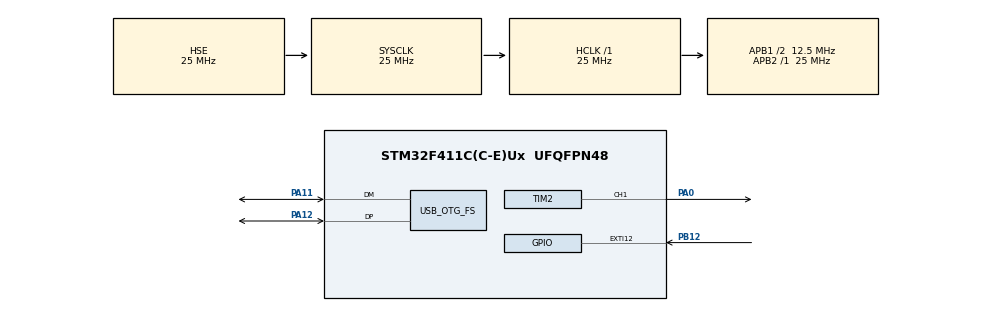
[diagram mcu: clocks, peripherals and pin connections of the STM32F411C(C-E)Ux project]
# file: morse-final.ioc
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Mcu.Family=STM32F4
Mcu.Name=STM32F411C(C-E)Ux
Mcu.Package=UFQFPN48
NVIC.EXTI15_10_IRQn=true\:0\:0\:false\:false\:true\:true\:true\:true
NVIC.OTG_FS_IRQn=true\:0\:0\:false\:false\:true\:false\:true\:true
NVIC.PriorityGroup=NVIC_PRIORITYGROUP_4
NVIC.TIM2_IRQn=true\:0\:0\:false\:false\:true\:true\:true\:true
PA0-WKUP.Signal=S_TIM2_CH1_ETR
PA11.Mode=Device_Only
PA11.Signal=USB_OTG_FS_DM
PA12.Mode=Device_Only
PA12.Signal=USB_OTG_FS_DP
PA13.Mode=Serial_Wire
PA13.Signal=SYS_JTMS-SWDIO
PA14.Mode=Serial_Wire
PA14.Signal=SYS_JTCK-SWCLK
PB12.GPIO_ModeDefaultEXTI=GPIO_MODE_IT_RISING_FALLING
PB12.Signal=GPXTI12
PH0\ -\ OSC_IN.Mode=HSE-External-Oscillator
PH0\ -\ OSC_IN.Signal=RCC_OSC_IN
PH1\ -\ OSC_OUT.Mode=HSE-External-Oscillator
PH1\ -\ OSC_OUT.Signal=RCC_OSC_OUT
ProjectManager.HeapSize=0x200
ProjectManager.StackSize=0x400
ProjectManager.TargetToolchain=STM32CubeIDE
RCC.48MHZClocksFreq_Value=48000000
RCC.AHBFreq_Value=25000000
RCC.APB1CLKDivider=RCC_HCLK_DIV2
RCC.APB1Freq_Value=12500000
RCC.APB1TimFreq_Value=25000000
RCC.APB2Freq_Value=25000000
RCC.APB2TimFreq_Value=25000000
RCC.CortexFreq_Value=25000000
RCC.HCLKFreq_Value=25000000
RCC.HSE_VALUE=25000000
RCC.HSI_VALUE=16000000
RCC.LSE_VALUE=32768
RCC.PLLM=25
RCC.SYSCLKFreq_VALUE=25000000
RCC.SYSCLKSource=RCC_SYSCLKSOURCE_HSE
RCC.VCOOutputFreq_Value=192000000
SH.S_TIM2_CH1_ETR.0=TIM2_CH1,PWM Generation1 CH1
TIM2.Channel-PWM\ Generation1\ CH1=TIM_CHANNEL_1
TIM2.Period=24999
USB_DEVICE.CLASS_NAME_FS=CDC
USB_DEVICE.VirtualMode=Cdc
USB_DEVICE.VirtualModeFS=Cdc_FS
USB_OTG_FS.VirtualMode=Device_Only
VP_TIM2_VS_ClockSourceINT.Mode=Internal
VP_USB_DEVICE_VS_USB_DEVICE_CDC_FS.Mode=CDC_FS
board=custom

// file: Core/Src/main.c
/* USER CODE BEGIN Header */
/**
  ******************************************************************************
  * @file           : main.c
  * @brief          : Main program body
  ******************************************************************************
  * @attention
  *
  * Copyright (c) 2026 STMicroelectronics.
  * All rights reserved.
  *
  * This software is licensed under terms that can be found in the LICENSE file
  * in the root directory of this software component.
  * If no LICENSE file comes with this software, it is provided AS-IS.
  *
  ******************************************************************************
  */
/* USER CODE END Header */
#include "main.h"
#include "usb_device.h"

/* USER CODE BEGIN Includes */
#include "usbd_cdc_if.h"
#include <string.h>
/* USER CODE END Includes */

TIM_HandleTypeDef htim2;

void SystemClock_Config(void);
static void MX_GPIO_Init(void);
static void MX_TIM2_Init(void);
/* USER CODE BEGIN PFP */
void Tocar_Bip(uint32_t duracao);
void Processar_Transmissao_USB(void);
/* USER CODE END PFP */

/* USER CODE BEGIN 0 */
#define TEMPO_PONTO_MIN   50
#define TEMPO_PONTO_MAX   190
#define TEMPO_TRACO_MIN   200
#define TEMPO_TRACO_MAX   450
#define TEMPO_FIM_LETRA   250
#define TEMPO_FIM_PALAVRA 600

#define TEMPO_BASE_TX     100

// Variáveis do Microfone (RX)
volatile uint32_t tempo_inicio_som = 0;
volatile uint32_t tempo_ultimo_som = 0;
volatile uint8_t estado_som = 0;
char buffer_letra[10] = "";
volatile uint8_t indice_buffer = 0;
uint8_t espaco_enviado = 1;

// Variáveis do USB
uint8_t usb_rx_buffer[256];
uint16_t usb_rx_len = 0;
volatile uint8_t usb_rx_ready = 0;

// Proteção Half-Duplex
volatile uint8_t is_transmitting = 0;

extern TIM_HandleTypeDef htim2;

// Dicionário Morse
const char* dicionario_morse[26] = {
    ".-",   "-...", "-.-.", "-..",  ".",    "..-.", "--.",  "....", // A - H
    "..",   ".---", "-.-",  ".-..", "--",   "-.",   "---",  ".--.", // I - P
    "--.-", ".-.",  "...",  "-",    "..-",  "...-", ".--",  "-..-", // Q - X
    "-.--", "--.."                                                  // Y - Z
};

char Decodificar_Letra(char* morse) {
    for (int i = 0; i < 26; i++) {
        if (strcmp(morse, dicionario_morse[i]) == 0) return 'A' + i;
    }
    return '?';
}
/* USER CODE END 0 */

int main(void)
{

  /* MCU Configuration--------------------------------------------------------*/

  /* Reset of all peripherals, Initializes the Flash interface and the Systick. */
  HAL_Init();

  /* Configure the system clock */
  SystemClock_Config();

  /* Initialize all configured peripherals */
  MX_GPIO_Init();
  MX_TIM2_Init();
  MX_USB_DEVICE_Init();

  /* Infinite loop */
  /* USER CODE BEGIN WHILE */
  while (1)
    {
        // Recebe morse
        if (usb_rx_ready == 1)
        {
            Processar_Transmissao_USB();
        }

        // Decodifica microfone
        else if (estado_som == 0 && is_transmitting == 0)
        {
            uint32_t tempo_silencio = HAL_GetTick() - tempo_ultimo_som;

            // Fecha a letra
            if (tempo_silencio > TEMPO_FIM_LETRA && indice_buffer > 0)
            {
                char letra_traduzida = Decodificar_Letra(buffer_letra);
                if (letra_traduzida != '?') {
                    uint8_t tx_buffer[1] = {letra_traduzida};
                    CDC_Transmit_FS(tx_buffer, 1);
                }
                indice_buffer = 0;
                buffer_letra[0] = '\0';
            }

            // Fecha a palavra
            if (tempo_silencio > TEMPO_FIM_PALAVRA && espaco_enviado == 0)
            {
                uint8_t tx_espaco[1] = {' '};
                CDC_Transmit_FS(tx_espaco, 1);
                espaco_enviado = 1;
            }
        }
    /* USER CODE END WHILE */

  }
}

void SystemClock_Config(void)
{
  RCC_OscInitTypeDef RCC_OscInitStruct = {0};
  RCC_ClkInitTypeDef RCC_ClkInitStruct = {0};

  /** Configure the main internal regulator output voltage
  */
  __HAL_RCC_PWR_CLK_ENABLE();
  __HAL_PWR_VOLTAGESCALING_CONFIG(PWR_REGULATOR_VOLTAGE_SCALE1);

  /** Initializes the RCC Oscillators according to the specified parameters
  * in the RCC_OscInitTypeDef structure.
  */
  RCC_OscInitStruct.OscillatorType = RCC_OSCILLATORTYPE_HSE;
  RCC_OscInitStruct.HSEState = RCC_HSE_ON;
  RCC_OscInitStruct.PLL.PLLState = RCC_PLL_ON;
  RCC_OscInitStruct.PLL.PLLSource = RCC_PLLSOURCE_HSE;
  RCC_OscInitStruct.PLL.PLLM = 25;
  RCC_OscInitStruct.PLL.PLLN = 192;
  RCC_OscInitStruct.PLL.PLLP = RCC_PLLP_DIV2;
  RCC_OscInitStruct.PLL.PLLQ = 4;
  if (HAL_RCC_OscConfig(&RCC_OscInitStruct) != HAL_OK)
  {
    Error_Handler();
  }

  /** Initializes the CPU, AHB and APB buses clocks
  */
  RCC_ClkInitStruct.ClockType = RCC_CLOCKTYPE_HCLK|RCC_CLOCKTYPE_SYSCLK
                              |RCC_CLOCKTYPE_PCLK1|RCC_CLOCKTYPE_PCLK2;
  RCC_ClkInitStruct.SYSCLKSource = RCC_SYSCLKSOURCE_HSE;
  RCC_ClkInitStruct.AHBCLKDivider = RCC_SYSCLK_DIV1;
  RCC_ClkInitStruct.APB1CLKDivider = RCC_HCLK_DIV2;
  RCC_ClkInitStruct.APB2CLKDivider = RCC_HCLK_DIV1;

  if (HAL_RCC_ClockConfig(&RCC_ClkInitStruct, FLASH_LATENCY_0) != HAL_OK)
  {
    Error_Handler();
  }
}

static void MX_TIM2_Init(void)
{

  TIM_ClockConfigTypeDef sClockSourceConfig = {0};
  TIM_MasterConfigTypeDef sMasterConfig = {0};
  TIM_OC_InitTypeDef sConfigOC = {0};

  htim2.Instance = TIM2;
  htim2.Init.Prescaler = 0;
  htim2.Init.CounterMode = TIM_COUNTERMODE_UP;
  htim2.Init.Period = 24999;
  htim2.Init.ClockDivision = TIM_CLOCKDIVISION_DIV1;
  htim2.Init.AutoReloadPreload = TIM_AUTORELOAD_PRELOAD_DISABLE;
  if (HAL_TIM_Base_Init(&htim2) != HAL_OK)
  {
    Error_Handler();
  }
  sClockSourceConfig.ClockSource = TIM_CLOCKSOURCE_INTERNAL;
  if (HAL_TIM_ConfigClockSource(&htim2, &sClockSourceConfig) != HAL_OK)
  {
    Error_Handler();
  }
  if (HAL_TIM_PWM_Init(&htim2) != HAL_OK)
  {
    Error_Handler();
  }
  sMasterConfig.MasterOutputTrigger = TIM_TRGO_RESET;
  sMasterConfig.MasterSlaveMode = TIM_MASTERSLAVEMODE_DISABLE;
  if (HAL_TIMEx_MasterConfigSynchronization(&htim2, &sMasterConfig) != HAL_OK)
  {
    Error_Handler();
  }
  sConfigOC.OCMode = TIM_OCMODE_PWM1;
  sConfigOC.Pulse = 12499;
  sConfigOC.OCPolarity = TIM_OCPOLARITY_HIGH;
  sConfigOC.OCFastMode = TIM_OCFAST_DISABLE;
  if (HAL_TIM_PWM_ConfigChannel(&htim2, &sConfigOC, TIM_CHANNEL_1) != HAL_OK)
  {
    Error_Handler();
  }
  HAL_TIM_MspPostInit(&htim2);

}

static void MX_GPIO_Init(void)
{
  GPIO_InitTypeDef GPIO_InitStruct = {0};

  /* GPIO Ports Clock Enable */
  __HAL_RCC_GPIOH_CLK_ENABLE();
  __HAL_RCC_GPIOA_CLK_ENABLE();
  __HAL_RCC_GPIOB_CLK_ENABLE();

  /*Configure GPIO pin : PB12 */
  GPIO_InitStruct.Pin = GPIO_PIN_12;
  GPIO_InitStruct.Mode = GPIO_MODE_IT_RISING_FALLING;
  GPIO_InitStruct.Pull = GPIO_NOPULL;
  HAL_GPIO_Init(GPIOB, &GPIO_InitStruct);

  /* EXTI interrupt init*/
  HAL_NVIC_SetPriority(EXTI15_10_IRQn, 0, 0);
  HAL_NVIC_EnableIRQ(EXTI15_10_IRQn);

}

/* USER CODE BEGIN 4 */
void Tocar_Bip(uint32_t duracao) {
    HAL_TIM_PWM_Start(&htim2, TIM_CHANNEL_1);
    HAL_Delay(duracao);
    HAL_TIM_PWM_Stop(&htim2, TIM_CHANNEL_1);
}

void Processar_Transmissao_USB(void) {
    is_transmitting = 1; // FICA SURDO PARA O MICROFONE
    HAL_Delay(200);      // Dá tempo do circuito estabilizar

    for(int i = 0; i < usb_rx_len; i++) {
        char c = usb_rx_buffer[i];

        if (c == '.') {
            Tocar_Bip(TEMPO_BASE_TX);
            HAL_Delay(TEMPO_BASE_TX);
        }
        else if (c == '-') {
            Tocar_Bip(TEMPO_BASE_TX * 3);
            HAL_Delay(TEMPO_BASE_TX);
        }
        else if (c == ' ') {
            HAL_Delay(TEMPO_BASE_TX * 3);
        }
        else if (c == '/') {
            HAL_Delay(TEMPO_BASE_TX);
        }
    }

    // Limpeza de segurança após apitar
    estado_som = 0;
    indice_buffer = 0;
    usb_rx_ready = 0;

    HAL_Delay(500);
    is_transmitting = 0; // VOLTA A ESCUTAR O MICROFONE
}

void HAL_GPIO_EXTI_Callback(uint16_t GPIO_Pin)
{
    if(is_transmitting == 1) return;

    if(GPIO_Pin == GPIO_PIN_12)
    {
    	// Lê se o pino está em 0V (RESET) ou 3.3V/5V (SET)
    	        GPIO_PinState estado = HAL_GPIO_ReadPin(GPIOB, GPIO_PIN_12);

    	        if(estado == GPIO_PIN_RESET)
    	        {
    	            // ------------------------------------------------
    	            // O SOM COMEÇOU (A saída do NE555 foi para 0V)
    	            // ------------------------------------------------
    	            tempo_inicio_som = HAL_GetTick(); // Liga o cronômetro
    	            estado_som = 1;                   // Avisa que está fazendo barulho
    	            espaco_enviado = 0;               // Prepara para a próxima letra
    	        }
    	        else
    	        {
    	            // ------------------------------------------------
    	            // O SOM TERMINOU (A saída do NE555 voltou para VCC)
    	            // ------------------------------------------------
    	            tempo_ultimo_som = HAL_GetTick(); // Marca a hora que acabou
    	            estado_som = 0;                   // Avisa que ficou em silêncio

    	            // Calcula a duração exata do bipe em milissegundos
    	            uint32_t duracao = tempo_ultimo_som - tempo_inicio_som;

    	            // Classifica o som e guarda no buffer
    	            if(duracao >= TEMPO_PONTO_MIN && duracao < TEMPO_PONTO_MAX)
    	            {
    	                // É um PONTO (.)
    	                if(indice_buffer < 9) buffer_letra[indice_buffer++] = '.';
    	            }
    	            else if(duracao >= TEMPO_TRACO_MIN && duracao < TEMPO_TRACO_MAX)
    	            {
    	                // É um TRAÇO (-)
    	                if(indice_buffer < 9) buffer_letra[indice_buffer++] = '-';
    	            }

    	            // Finaliza a string de texto para segurança
    	            buffer_letra[indice_buffer] = '\0';
    	        }
    }
}
/* USER CODE END 4 */

void Error_Handler(void)
{
  __disable_irq();
  while (1)
  {
  }
}
